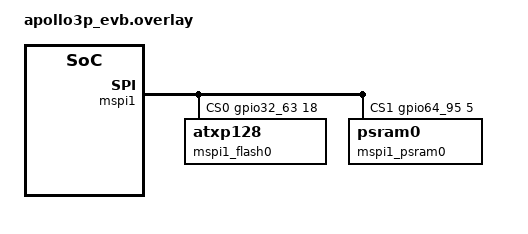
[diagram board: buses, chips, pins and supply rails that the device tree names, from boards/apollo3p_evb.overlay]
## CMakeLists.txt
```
# SPDX-License-Identifier: Apache-2.0

cmake_minimum_required(VERSION 3.20.0)
find_package(Zephyr REQUIRED HINTS $ENV{ZEPHYR_BASE})
project(mspi_test)

FILE(GLOB app_sources src/*.c)
# message("ENV:  $ENV{ZEPHYR_BASE}")

# add_compile_options(-DENABLE_FEATURE=1)
# target_compile_options(app PUBLIC -O0)

target_sources(app PRIVATE ${app_sources})
```

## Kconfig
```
# Private config options for mspi sample app

# Copyright 2022 Ambiq
# SPDX-License-Identifier: Apache-2.0

mainmenu "Ambiq MSPI sample application"

config MSPI_DMA_TCB_BUFFER_SIZE
	int "DMA Transfer Control Buffer size in words."
	default 1024
	help
	  DMA Transfer Control Buffer size in words

source "Kconfig.zephyr"
```

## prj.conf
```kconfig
CONFIG_STDOUT_CONSOLE=y
# CONFIG_FLASH=y
CONFIG_GPIO=y
CONFIG_SPI=y
CONFIG_SPI_AMBIQ=n
CONFIG_MSPI_AMBIQ=y
CONFIG_SPI_EXTENDED_MODES=y
CONFIG_SPI_ASYNC=n
CONFIG_MAIN_STACK_SIZE=4096
CONFIG_HEAP_MEM_POOL_SIZE=16384

CONFIG_COMPILER_SAVE_TEMPS=y
CONFIG_NO_OPTIMIZATIONS=y
CONFIG_MSPI_AMBIQ_DMA=y
```

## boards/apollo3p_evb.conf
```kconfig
# Enable config log
CONFIG_MSPI_AMBIQ=n
CONFIG_SPI_AMBIQ=n
CONFIG_MSPI_AMBIQ_AP3=y
```

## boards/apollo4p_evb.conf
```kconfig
# Enable config log
CONFIG_MSPI_AMBIQ=y
CONFIG_SPI_AMBIQ=n
CONFIG_MSPI_AMBIQ_AP3=n
```

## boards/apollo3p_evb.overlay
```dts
/*
 * Copyright (c) 2022 STMicroelectronics
 *
 * SPDX-License-Identifier: Apache-2.0
 */

&mspi0 {
	status = "disabled";
};

&mspi1 {
	compatible = "ambiq,mspi";
	interrupt-parent = <&nvic>;

    cs-gpios =  <&gpio32_63 18 (GPIO_ACTIVE_HIGH | GPIO_PULL_UP)>,   /* 50 */
		        <&gpio64_95 5 (GPIO_ACTIVE_HIGH | GPIO_PULL_UP)>;    /* 69 */

    mspi1_flash0: atxp128@0 {
        mspi-ce = <0>;
		reg = <0>;
		// spi-max-frequency = <48000000>;
		status = "okay";
    };
	mspi1_psram0: psram0@1 {
        mspi-ce = <1>;
		reg = <1>;
		// compatible = "ambiq,aps6404";
		// spi-max-frequency = <48000000>;
		status = "okay";
	};
};

&mspi2 {
	status = "disabled";
};
```

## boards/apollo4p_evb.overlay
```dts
/*
 * Copyright (c) 2022 STMicroelectronics
 *
 * SPDX-License-Identifier: Apache-2.0
 */

&mspi0 {
	compatible = "ambiq,mspi";
	status = "okay";
	interrupt-parent = <&nvic>;
	cs-gpios = <&gpio32_63 5 (GPIO_PULL_UP | GPIO_ACTIVE_HIGH)>;
    mspi-ce = <0>;
};

&mspi1 {
	status = "disabled";
};
&mspi2 {
	status = "disabled";
};
```

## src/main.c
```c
/*
 * Copyright (c) 2016 Intel Corporation.
 *
 * SPDX-License-Identifier: Apache-2.0
 */

#include <zephyr/kernel.h>
#include <zephyr/drivers/flash.h>
#include <zephyr/device.h>
#include <zephyr/devicetree.h>
#include <stdio.h>
#include <string.h>
#include <zephyr/drivers/spi.h>

#define TESE_MSPI DT_NODELABEL(mspi0)

#if DT_NODE_HAS_STATUS(TESE_MSPI, okay)
static const struct device *spi_dev = DEVICE_DT_GET(TESE_MSPI);
#else
#error "Node is disabled"
#endif

#define TEST_FREQ_HZ 8000000U	//48000000U


static const struct spi_config spi_cfg_single = {
	.frequency = TEST_FREQ_HZ,
	.operation = (SPI_OP_MODE_MASTER | SPI_TRANSFER_MSB | SPI_WORD_SET(8)
		      | SPI_LINES_SINGLE),
};

static const struct spi_config spi_cfg_dual = {
	.frequency = TEST_FREQ_HZ,
	.operation = (SPI_OP_MODE_MASTER | SPI_TRANSFER_MSB | SPI_WORD_SET(8)
		      | SPI_LINES_DUAL),
};

static const struct spi_config spi_cfg_quad = {
	.frequency = TEST_FREQ_HZ,
	.operation = (SPI_OP_MODE_MASTER | SPI_TRANSFER_MSB | SPI_WORD_SET(8)
		      | SPI_LINES_QUAD),
};

struct spi_buf_set tx_set;
struct spi_buf_set rx_set;

int main(void)
{
	int ret;

	if (!device_is_ready(spi_dev)) {
		printf("SPI 0 device not ready!\n");
		return -1;
	}
	// struct spi_cs_control cs_ctrl = (struct spi_cs_control){
	// 	// .gpio = GPIO_DT_SPEC_GET(SPIBB_NODE, cs_gpios),
	// 	.delay = 0u,
	// };

	// config.frequency = 48000000;
	// config.operation = SPI_OP_MODE_MASTER | SPI_WORD_SET(8);
	// config.slave = 0;
	// config.cs = cs_ctrl;

	#define DATA_SIZE	8
	uint8_t buff[DATA_SIZE] = {0x01, 0x02, 0x03, 0x04, 0x05, 0x06, 0x07, 0x08 };
	uint8_t rxdata[DATA_SIZE];

	struct spi_buf tx_buf[1] = {
		{.buf = buff, .len = DATA_SIZE},
	};
	struct spi_buf rx_buf[1] = {
		{.buf = rxdata, .len = DATA_SIZE},
	};


	tx_set.buffers = tx_buf;
	tx_set .count = 1;

	ret = spi_transceive(spi_dev, &spi_cfg_single, &tx_set, NULL);

	ret = spi_transceive(spi_dev, &spi_cfg_dual, &tx_set, NULL);

	ret = spi_transceive(spi_dev, &spi_cfg_quad, &tx_set, NULL);

	printf("8bit_loopback_partial; ret: %d\n", ret);
	printf(" tx (i)  : %02x %02x %02x %02x %02x\n",
	       buff[0], buff[1], buff[2], buff[3], buff[4]);
	// printf(" rx (i)  : %02x %02x %02x %02x %02x\n",
	//        rxdata[0], rxdata[1], rxdata[2], rxdata[3], rxdata[4]);
	return 0;
}
```
